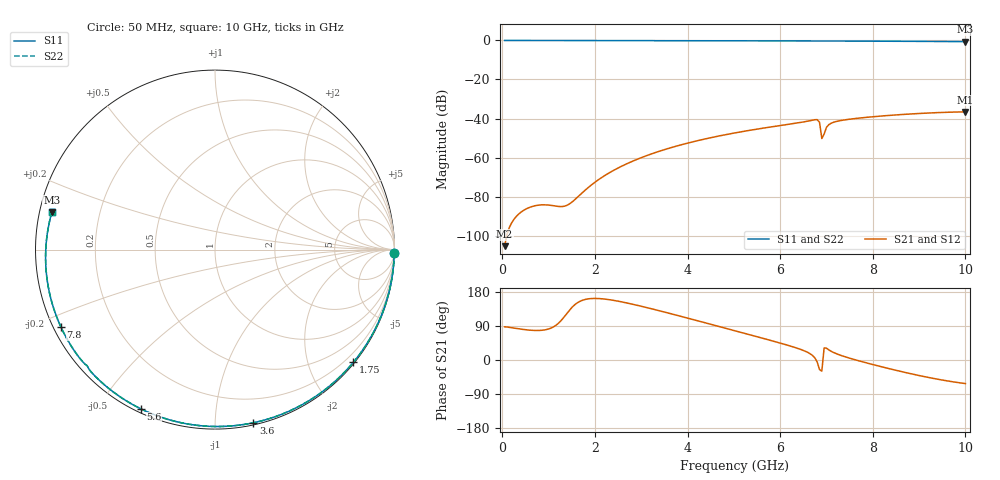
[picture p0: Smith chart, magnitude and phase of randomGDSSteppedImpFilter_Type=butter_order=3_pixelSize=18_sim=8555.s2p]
! freq	dB(S11)	phase(S11)	dB(S12)	phase(S12)
!  dB(S21)	phase(S21)	dB(S22)	phase(S22)
!S-par simulation data
#  GHz  S  DB  R 50
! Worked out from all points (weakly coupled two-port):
!   200 points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, 50 MHz to 10 GHz, reference 50 ohm
!   highest |S21| = -36.58 dB at 10 GHz (marker M1); lowest = -105.4 dB at 50 MHz (marker M2)
!   lowest |S11| = -0.6 dB at 10 GHz (marker M3), VSWR 28.66, Z = 1.77 + j5.64 ohm
!   |S11| at or under -10 dB: nowhere
!   |S22| runs from -0.6 to 0.0 dB; largest |S21 - S12| = 0
!   S11 on the Smith chart (normalised r, x): 50 MHz: open; 1.75 GHz: 0.03, -2.81; 3.6 GHz: 0.02, -1.24; 5.6 GHz: 0.02, -0.64; 7.8 GHz: 0.02, -0.24; 10 GHz: 0.04, +0.11
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0.05  -0.01 -1.1  -105.36 87.5  -105.36 87.5  -0.01 -1.1
0.8  -0.02 -18.1  -84.30 78.0  -84.30 78.0  -0.02 -18.1
1.6  -0.05 -35.9  -80.81 149.2  -80.81 149.2  -0.05 -35.9
1.75  -0.05 -39.1  -77.52 158.4  -77.52 158.4  -0.05 -39.1
2.1  -0.06 -46.7  -70.94 162.0  -70.94 162.0  -0.06 -46.7
2.45  -0.07 -54.1  -65.95 156.4  -65.95 156.4  -0.07 -54.1
2.9  -0.08 -63.5  -60.98 144.7  -60.98 144.7  -0.08 -63.4
3.4  -0.10 -73.6  -56.68 129.7  -56.68 129.7  -0.10 -73.6
3.6  -0.10 -77.5  -55.21 123.4  -55.21 123.4  -0.10 -77.5
4.3  -0.13 -91.1  -50.87 100.9  -50.87 100.9  -0.13 -91.1
5.05  -0.16 -105.1  -47.24 76.3  -47.24 76.3  -0.16 -105.1
5.6  -0.19 -115.0  -45.03 58.2  -45.03 58.2  -0.19 -115.0
6.7  -0.26 -134.5  -40.84 11.9  -40.84 11.9  -0.26 -134.5
6.8  -0.28 -136.3  -40.56 -5.2  -40.56 -5.2  -0.28 -136.3
6.85  -0.31 -137.2  -41.93 -25.3  -41.93 -25.3  -0.31 -137.2
6.9  -0.33 -137.8  -50.23 -29.4  -50.23 -29.4  -0.33 -137.8
7  -0.30 -139.4  -44.52 31.2  -44.52 31.2  -0.30 -139.4
7.1  -0.30 -141.2  -42.41 23.1  -42.41 23.1  -0.30 -141.2
7.8  -0.35 -153.3  -39.53 -5.5  -39.53 -5.5  -0.35 -153.3
8.35  -0.40 -162.9  -38.40 -22.7  -38.40 -22.7  -0.40 -162.9
9.2  -0.50 -178.0  -37.17 -46.0  -37.17 -46.0  -0.50 -178.0
10  -0.61 167.1  -36.58 -62.2  -36.58 -62.2  -0.61 167.2
